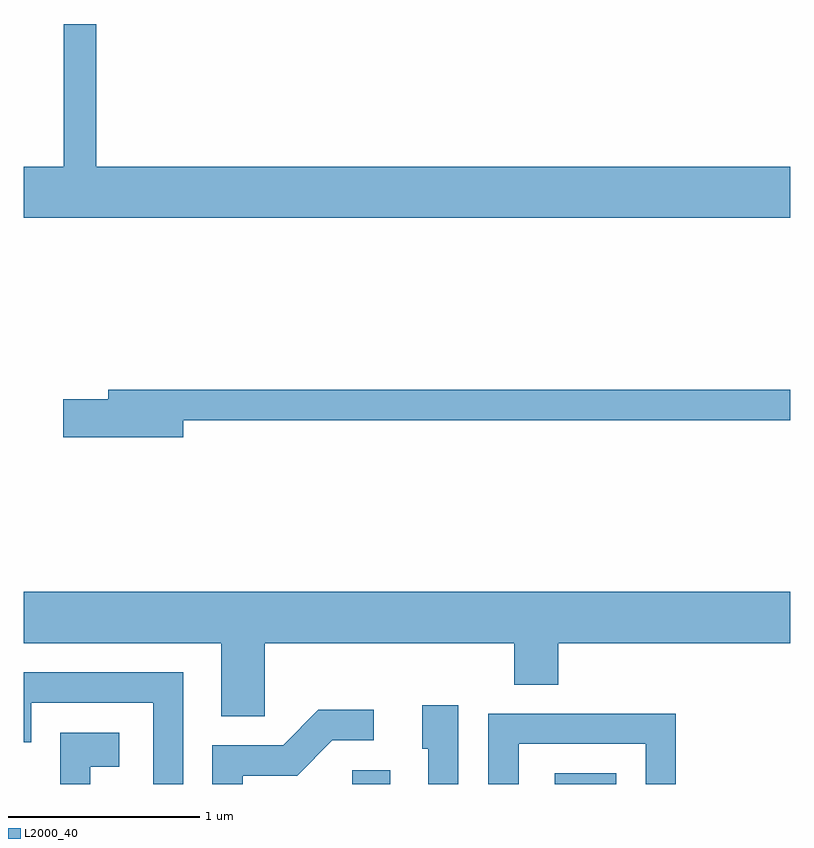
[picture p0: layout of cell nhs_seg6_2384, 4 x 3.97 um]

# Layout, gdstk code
import gdstk
lib = gdstk.Library(unit=1e-6, precision=1e-09)
def R(c, l, rs):  # rectangles x0, y0, x1, y1
    for r in rs: c.add(gdstk.rectangle(r[:2], r[2:], *l))
def P(c, l, *ps):  # polygons
    for p in ps: c.add(gdstk.Polygon(p, *l))
L2000_40 = (2000, 40)

nhs_seg6_2384 = lib.new_cell('nhs_seg6_2384')
R(nhs_seg6_2384, L2000_40, [(259.326,1578.162,259.524,1578.234), (260.381,1578.162,260.704,1578.219)])
P(nhs_seg6_2384, L2000_40, [(261.611,1581.384),(257.989,1581.384),(257.989,1582.128),(257.821,1582.128),(257.821,1581.384),(257.611,1581.384),(257.611,1581.116),(261.611,1581.116)],
  [(258.444,1580.061),(261.611,1580.061),(261.611,1580.219),(258.051,1580.219),(258.051,1580.169),(257.816,1580.169),(257.816,1579.971),(258.444,1579.971)],
  [(258.869,1578.896),(260.171,1578.896),(260.171,1578.681),(260.399,1578.681),(260.399,1578.896),(261.611,1578.896),(261.611,1579.164),(257.611,1579.164),(257.611,1578.896),(258.641,1578.896),(258.641,1578.516),(258.869,1578.516)],
  [(258.444,1578.744),(257.611,1578.744),(257.611,1578.381),(257.649,1578.381),(257.649,1578.586),(258.286,1578.586),(258.286,1578.162),(258.444,1578.162)],
  [(259.879,1578.574),(259.691,1578.574),(259.691,1578.346),(259.721,1578.346),(259.721,1578.162),(259.879,1578.162)],
  [(258.754,1578.206),(259.037,1578.206),(259.222,1578.391),(259.438,1578.391),(259.438,1578.549),(259.149,1578.549),(258.964,1578.364),(258.596,1578.364),(258.596,1578.162),(258.754,1578.162)],
  [(260.194,1578.371),(260.856,1578.371),(260.856,1578.162),(261.014,1578.162),(261.014,1578.529),(260.036,1578.529),(260.036,1578.162),(260.194,1578.162)],
  [(257.959,1578.251),(258.109,1578.251),(258.109,1578.429),(257.801,1578.429),(257.801,1578.162),(257.959,1578.162)])

lib.write_gds('nhs_seg6_2384.gds')
